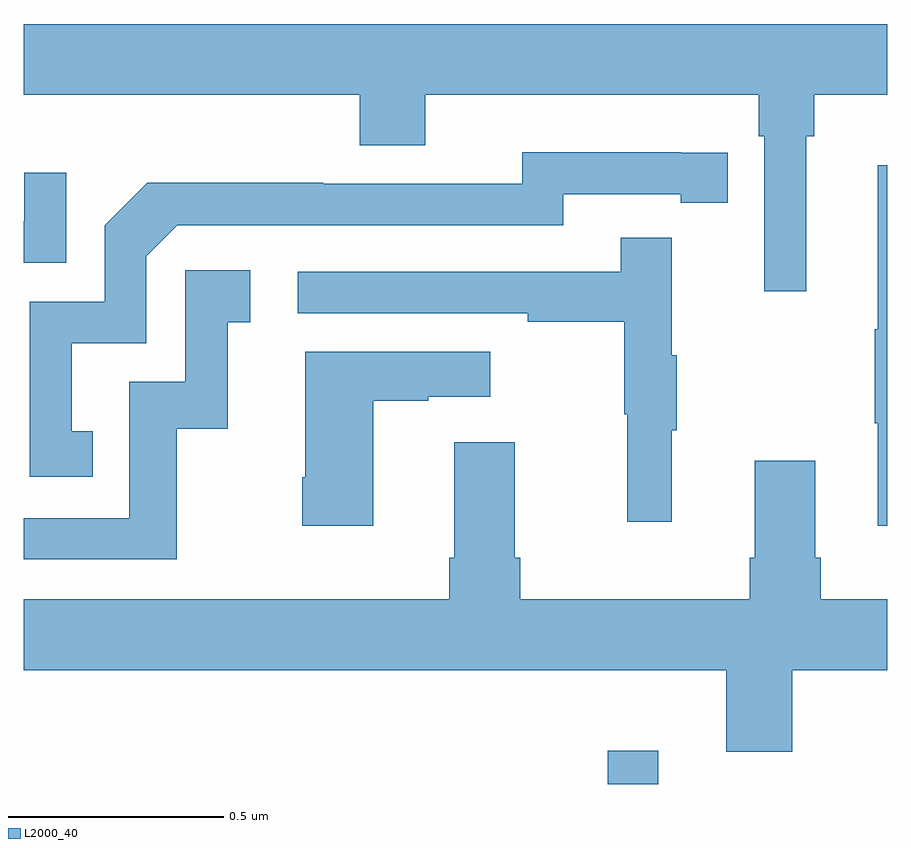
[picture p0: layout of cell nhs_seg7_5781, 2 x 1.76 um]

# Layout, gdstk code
import gdstk
lib = gdstk.Library(unit=1e-6, precision=1e-09)
def R(c, l, rs):  # rectangles x0, y0, x1, y1
    for r in rs: c.add(gdstk.rectangle(r[:2], r[2:], *l))
def P(c, l, *ps):  # polygons
    for p in ps: c.add(gdstk.Polygon(p, *l))
L2000_40 = (2000, 40)

nhs_seg7_5781 = lib.new_cell('nhs_seg7_5781')
R(nhs_seg7_5781, L2000_40, [(191.353,1019,191.469,1019.077)])
P(nhs_seg7_5781, L2000_40, [(190,1020.596),(190.778,1020.596),(190.778,1020.479),(190.93,1020.479),(190.93,1020.596),(191.702,1020.596),(191.702,1020.5),(191.715,1020.5),(191.715,1020.141),(191.812,1020.141),(191.812,1020.5),(191.831,1020.5),(191.831,1020.596),(192,1020.596),(192,1020.76),(190,1020.76)],
  [(190.16,1019.817),(190.111,1019.817),(190.111,1020.021),(190.284,1020.021),(190.284,1020.222),(190.356,1020.294),(191.25,1020.294),(191.25,1020.366),(191.522,1020.366),(191.522,1020.346),(191.63,1020.346),(191.63,1020.462),(191.522,1020.462),(191.522,1020.463),(191.154,1020.463),(191.154,1020.39),(190.694,1020.39),(190.694,1020.392),(190.286,1020.392),(190.188,1020.294),(190.188,1020.117),(190.014,1020.117),(190.014,1019.712),(190.16,1019.712)],
  [(192,1020.433),(191.978,1020.433),(191.978,1020.053),(191.971,1020.053),(191.971,1019.836),(191.978,1019.836),(191.978,1019.598),(192,1019.598)],
  [(190.098,1020.415),(190.001,1020.415),(190.001,1020.303),(190,1020.303),(190,1020.207),(190.098,1020.207)],
  [(191.501,1019.819),(191.512,1019.819),(191.512,1019.993),(191.501,1019.993),(191.501,1020.265),(191.383,1020.265),(191.383,1020.186),(190.635,1020.186),(190.635,1020.09),(191.167,1020.09),(191.167,1020.07),(191.391,1020.07),(191.391,1019.856),(191.398,1019.856),(191.398,1019.607),(191.501,1019.607)],
  [(190.354,1019.823),(190.472,1019.823),(190.472,1020.069),(190.525,1020.069),(190.525,1020.19),(190.374,1020.19),(190.374,1019.931),(190.245,1019.931),(190.245,1019.616),(190,1019.616),(190,1019.52),(190.354,1019.52)],
  [(190.81,1019.887),(190.937,1019.887),(190.937,1019.897),(191.08,1019.897),(191.08,1020.001),(190.652,1020.001),(190.652,1019.71),(190.645,1019.71),(190.645,1019.598),(190.81,1019.598)],
  [(191.78,1019.264),(192,1019.264),(192,1019.428),(191.846,1019.428),(191.846,1019.524),(191.833,1019.524),(191.833,1019.749),(191.693,1019.749),(191.693,1019.524),(191.681,1019.524),(191.681,1019.428),(191.15,1019.428),(191.15,1019.524),(191.137,1019.524),(191.137,1019.791),(190.997,1019.791),(190.997,1019.524),(190.985,1019.524),(190.985,1019.428),(190,1019.428),(190,1019.264),(191.627,1019.264),(191.627,1019.075),(191.78,1019.075)])

lib.write_gds('nhs_seg7_5781.gds')
